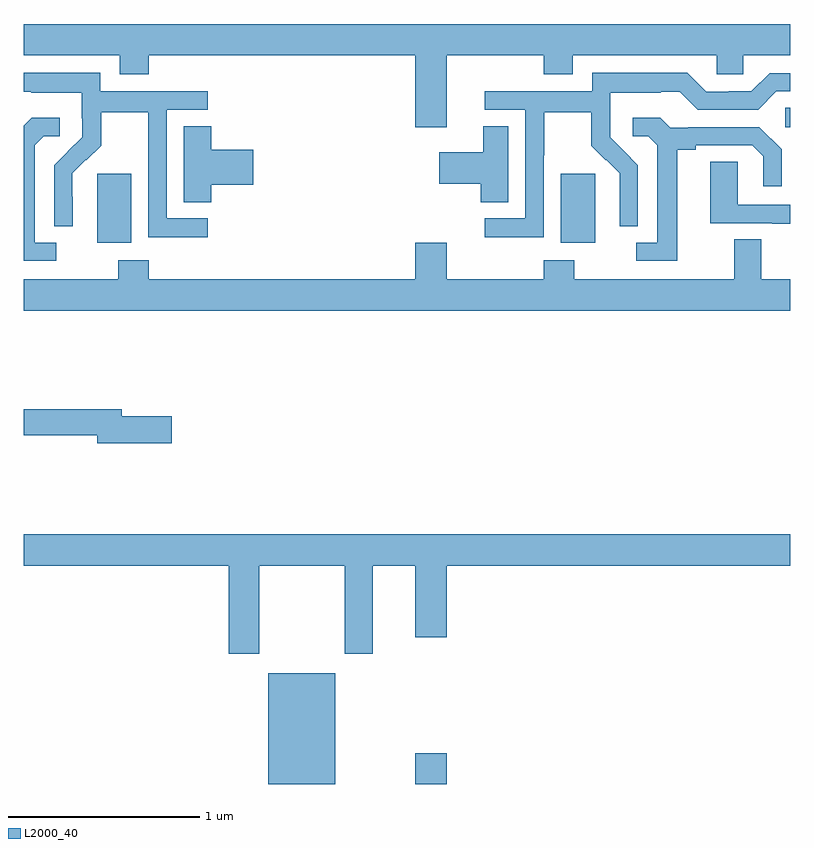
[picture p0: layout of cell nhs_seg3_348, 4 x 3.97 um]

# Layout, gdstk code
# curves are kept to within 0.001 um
import gdstk
lib = gdstk.Library(unit=1e-6, precision=1e-09)
def R(c, l, rs):  # rectangles x0, y0, x1, y1
    for r in rs: c.add(gdstk.rectangle(r[:2], r[2:], *l))
def P(c, l, *ps):  # polygons
    for p in ps: c.add(gdstk.Polygon(p, *l))
L2000_40 = (2000, 40)

nhs_seg3_348 = lib.new_cell('nhs_seg3_348')
R(nhs_seg3_348, L2000_40, [(128.276,742.4,128.626,742.978), (129.044,742.4,129.208,742.561), (127.382,745.226,127.561,745.587), (129.803,745.226,129.982,745.587), (130.974,745.83,131,745.931)])
P(nhs_seg3_348, L2000_40, [(129.208,746.204),(129.713,746.204),(129.713,746.105),(129.865,746.105),(129.865,746.204),(130.617,746.204),(130.617,746.106),(130.755,746.106),(130.755,746.204),(131,746.204),(131,746.368),(127,746.368),(127,746.204),(127.499,746.204),(127.499,746.105),(127.652,746.105),(127.652,746.204),(129.044,746.204),(129.044,745.83),(129.208,745.83)],
  [(129.714,745.684),(129.717,745.684),(129.717,745.908),(129.961,745.908),(129.961,745.733),(130.038,745.656),(130.041,745.659),(130.112,745.589),(130.112,745.466),(130.11,745.466),(130.11,745.312),(130.206,745.312),(130.206,745.63),(130.06,745.778),(130.06,745.875),(130.062,745.875),(130.062,746.009),(130.325,746.009),(130.325,746.013),(130.425,746.013),(130.518,745.92),(130.833,745.92),(130.929,746.016),(131,746.016),(131,746.112),(130.893,746.112),(130.797,746.016),(130.679,746.016),(130.679,746.013),(130.563,746.013),(130.463,746.113),(129.966,746.113),(129.966,746.016),(129.405,746.016),(129.405,745.92),(129.618,745.92),(129.618,745.353),(129.405,745.353),(129.405,745.255),(129.714,745.255)],
  [(127.96,745.353),(127.746,745.353),(127.746,745.92),(127.96,745.92),(127.96,746.016),(127.398,746.016),(127.398,746.113),(127,746.113),(127,746.013),(127.039,746.013),(127.039,746.009),(127.302,746.009),(127.302,745.875),(127.304,745.875),(127.304,745.778),(127.158,745.63),(127.158,745.312),(127.254,745.312),(127.253,745.589),(127.323,745.659),(127.326,745.656),(127.403,745.733),(127.403,745.908),(127.648,745.908),(127.648,745.684),(127.65,745.684),(127.65,745.255),(127.96,745.255)],
  [(127.168,745.227),(127.057,745.227),(127.057,745.735),(127.104,745.782),(127.186,745.782),(127.186,745.879),(127.042,745.879),(127,745.837),(127,745.131),(127.168,745.131)],
  [(130.411,745.712),(130.507,745.712),(130.507,745.734),(130.802,745.734),(130.859,745.677),(130.859,745.521),(130.956,745.521),(130.956,745.714),(130.84,745.83),(130.468,745.83),(130.468,745.827),(130.374,745.827),(130.322,745.879),(130.179,745.879),(130.179,745.782),(130.26,745.782),(130.307,745.735),(130.307,745.227),(130.197,745.227),(130.197,745.131),(130.411,745.131)],
  [(129.529,745.835),(129.398,745.835),(129.398,745.699),(129.168,745.699),(129.168,745.534),(129.386,745.534),(129.386,745.438),(129.529,745.438)],
  [(127.979,745.529),(128.197,745.529),(128.197,745.712),(127.979,745.712),(127.979,745.835),(127.835,745.835),(127.835,745.438),(127.979,745.438)],
  [(131,745.425),(130.728,745.425),(130.728,745.649),(130.583,745.649),(130.583,745.329),(130.907,745.329),(130.907,745.325),(131,745.325)],
  [(131,745.036),(130.849,745.036),(130.849,745.244),(130.709,745.244),(130.709,745.036),(129.873,745.036),(129.873,745.135),(129.713,745.135),(129.713,745.036),(129.208,745.036),(129.208,745.225),(129.044,745.225),(129.044,745.036),(127.652,745.036),(127.652,745.135),(127.492,745.135),(127.492,745.036),(127,745.036),(127,744.872),(131,744.872)],
  [(127.771,744.32),(127.51,744.32),(127.51,744.356),(127,744.356),(127,744.22),(127.382,744.22),(127.382,744.178),(127.771,744.178)],
  [(128.229,743.54),(128.674,743.54),(128.674,743.079),(128.821,743.079),(128.821,743.54),(129.044,743.54),(129.044,743.166),(129.208,743.166),(129.208,743.54),(131,743.54),(131,743.704),(127,743.704),(127,743.54),(128.069,743.54),(128.069,743.079),(128.229,743.079)])

lib.write_gds('nhs_seg3_348.gds')
